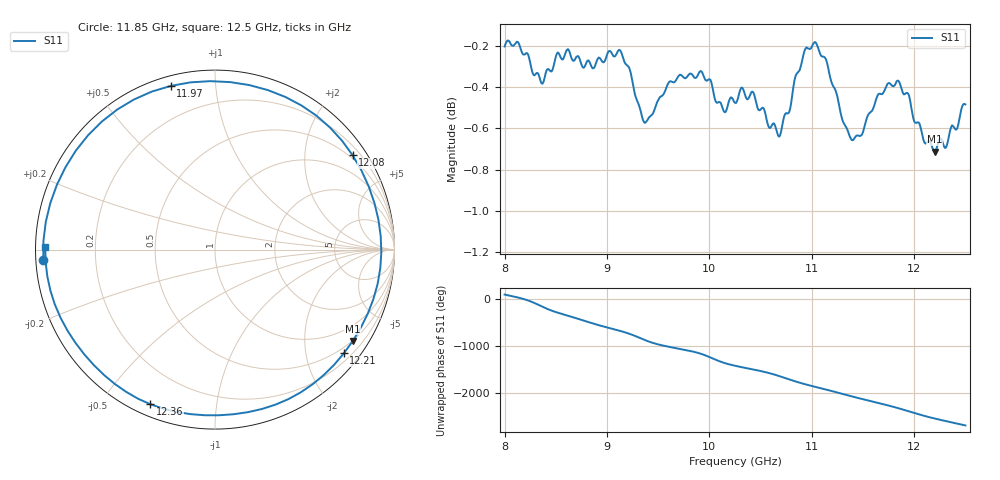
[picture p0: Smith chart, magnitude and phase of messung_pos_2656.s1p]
#  HZ  S  RI  R  50.00
! Rohde & Schwarz Vector Network Analyzer
! Rohde-Schwarz,ZNA43-4Port,1332450044101932,2.92
! Created: UTC 6/1/2026, 11:34:48 AM
! freq[Hz]  re:S11  im:S11
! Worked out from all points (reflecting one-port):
!   451 points, 8 GHz to 12.5 GHz, reference 50 ohm
!   lowest |S11| = -0.7 dB at 12.2 GHz (marker M1), VSWR 24.39, Z = 24.2 - j163 ohm
!   phase of S11 starts at 88 deg and turns -2789 deg over the sweep
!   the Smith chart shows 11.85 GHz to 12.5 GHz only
!   S11 on the Smith chart (normalised r, x): 11.85 GHz: 0.02, -0.03; 11.97 GHz: 0.05, +0.76; 12.08 GHz: 0.41, +3.17; 12.21 GHz: 0.36, -2.79; 12.36 GHz: 0.05, -0.67; 12.5 GHz: 0.03, +0.01
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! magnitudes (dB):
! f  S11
! 8 GHz  -0.2
! 8.13 GHz  -0.2
! 8.36 GHz  -0.4
! 8.57 GHz  -0.3
! 8.86 GHz  -0.3
! 9.13 GHz  -0.2
! 9.37 GHz  -0.6
! 9.69 GHz  -0.4
! 9.92 GHz  -0.3
! 10.14 GHz  -0.5
! 10.25 GHz  -0.5
! 10.42 GHz  -0.4
! 10.68 GHz  -0.6
! 10.82 GHz  -0.4
! 10.93 GHz  -0.2
! 11.04 GHz  -0.2
! 11.14 GHz  -0.3
! 11.38 GHz  -0.6
! 11.49 GHz  -0.6
! 11.74 GHz  -0.4
! 11.85 GHz  -0.4
! 11.94 GHz  -0.4
! 11.97 GHz  -0.5
! 12.08 GHz  -0.6
! 12.2 GHz  -0.7
! 12.21 GHz  -0.7
! 12.36 GHz  -0.6
! 12.5 GHz  -0.5
